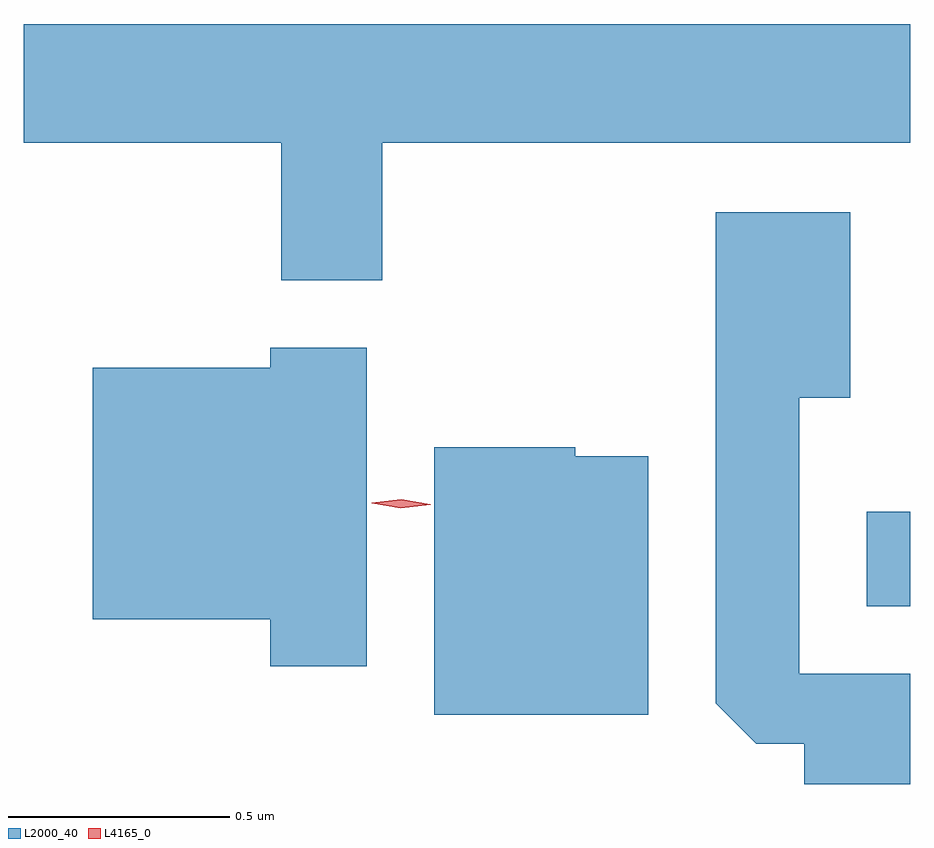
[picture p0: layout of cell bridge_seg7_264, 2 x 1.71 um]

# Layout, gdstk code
import gdstk
lib = gdstk.Library(unit=1e-6, precision=1e-09)
def R(c, l, rs):  # rectangles x0, y0, x1, y1
    for r in rs: c.add(gdstk.rectangle(r[:2], r[2:], *l))
def P(c, l, *ps):  # polygons
    for p in ps: c.add(gdstk.Polygon(p, *l))
L2000_40 = (2000, 40)
L4165_0 = (4165, 0)

bridge_seg7_264 = lib.new_cell('bridge_seg7_264')
R(bridge_seg7_264, L2000_40, [(1825.401,1677.751,1825.5,1677.964)])
P(bridge_seg7_264, L2000_40, [(1824.309,1678.796),(1825.5,1678.796),(1825.5,1679.064),(1823.5,1679.064),(1823.5,1678.796),(1824.081,1678.796),(1824.081,1678.486),(1824.309,1678.486)],
  [(1825.5,1677.599),(1825.249,1677.599),(1825.249,1678.221),(1825.364,1678.221),(1825.364,1678.639),(1825.061,1678.639),(1825.061,1677.532),(1825.152,1677.441),(1825.261,1677.441),(1825.261,1677.35),(1825.5,1677.35)],
  [(1824.274,1678.334),(1824.056,1678.334),(1824.056,1678.289),(1823.656,1678.289),(1823.656,1677.721),(1824.056,1677.721),(1824.056,1677.616),(1824.274,1677.616)],
  [(1824.909,1678.089),(1824.744,1678.089),(1824.744,1678.109),(1824.426,1678.109),(1824.426,1677.506),(1824.909,1677.506)])
P(bridge_seg7_264, L4165_0, [(1824.351,1677.972),(1824.285,1677.983),(1824.285,1677.983),(1824.285,1677.984),(1824.352,1677.992),(1824.417,1677.981),(1824.418,1677.98),(1824.417,1677.98)])

lib.write_gds('bridge_seg7_264.gds')
